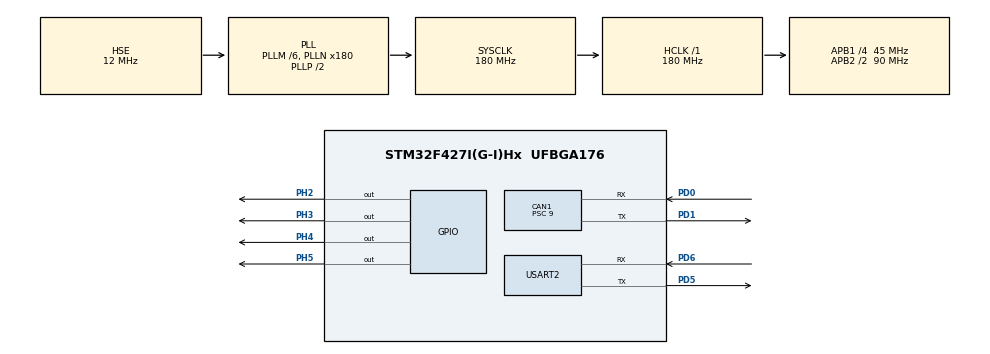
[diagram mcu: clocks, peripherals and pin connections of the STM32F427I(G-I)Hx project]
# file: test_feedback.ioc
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CAN1.ABOM=ENABLE
CAN1.BS1=CAN_BS1_2TQ
CAN1.BS2=CAN_BS2_2TQ
CAN1.CalculateBaudRate=1000000
CAN1.CalculateTimeBit=1000
CAN1.CalculateTimeQuantum=200.0
CAN1.Prescaler=9
Dma.Request0=USART2_RX
Dma.Request1=USART2_TX
Dma.USART2_RX.0.Direction=DMA_PERIPH_TO_MEMORY
Dma.USART2_RX.0.FIFOMode=DMA_FIFOMODE_DISABLE
Dma.USART2_RX.0.Instance=DMA1_Stream5
Dma.USART2_RX.0.MemDataAlignment=DMA_MDATAALIGN_BYTE
Dma.USART2_RX.0.MemInc=DMA_MINC_ENABLE
Dma.USART2_RX.0.Mode=DMA_NORMAL
Dma.USART2_RX.0.PeriphDataAlignment=DMA_PDATAALIGN_BYTE
Dma.USART2_RX.0.PeriphInc=DMA_PINC_DISABLE
Dma.USART2_RX.0.Priority=DMA_PRIORITY_LOW
Dma.USART2_TX.1.Direction=DMA_MEMORY_TO_PERIPH
Dma.USART2_TX.1.FIFOMode=DMA_FIFOMODE_DISABLE
Dma.USART2_TX.1.Instance=DMA1_Stream6
Dma.USART2_TX.1.MemDataAlignment=DMA_MDATAALIGN_BYTE
Dma.USART2_TX.1.MemInc=DMA_MINC_ENABLE
Dma.USART2_TX.1.Mode=DMA_NORMAL
Dma.USART2_TX.1.PeriphDataAlignment=DMA_PDATAALIGN_BYTE
Dma.USART2_TX.1.PeriphInc=DMA_PINC_DISABLE
Dma.USART2_TX.1.Priority=DMA_PRIORITY_LOW
Mcu.Family=STM32F4
Mcu.Name=STM32F427I(G-I)Hx
Mcu.Package=UFBGA176
NVIC.CAN1_RX0_IRQn=true\:0\:0\:false\:false\:true\:true\:true\:true
NVIC.CAN1_RX1_IRQn=true\:0\:0\:false\:false\:true\:true\:true\:true
NVIC.DMA1_Stream5_IRQn=true\:0\:0\:false\:false\:true\:false\:true\:true
NVIC.DMA1_Stream6_IRQn=true\:0\:0\:false\:false\:true\:false\:true\:true
NVIC.PriorityGroup=NVIC_PRIORITYGROUP_4
NVIC.USART2_IRQn=true\:0\:0\:false\:false\:true\:true\:true\:true
PA13.Mode=Serial_Wire
PA13.Signal=SYS_JTMS-SWDIO
PA14.Mode=Serial_Wire
PA14.Signal=SYS_JTCK-SWCLK
PD0.Mode=CAN_Activate
PD0.Signal=CAN1_RX
PD1.Mode=CAN_Activate
PD1.Signal=CAN1_TX
PD5.Mode=Asynchronous
PD5.Signal=USART2_TX
PD6.Mode=Asynchronous
PD6.Signal=USART2_RX
PH0/OSC_IN.Mode=HSE-External-Oscillator
PH0/OSC_IN.Signal=RCC_OSC_IN
PH1/OSC_OUT.Mode=HSE-External-Oscillator
PH1/OSC_OUT.Signal=RCC_OSC_OUT
PH2.GPIO_PuPd=GPIO_PULLDOWN
PH2.Signal=GPIO_Output
PH3.GPIO_PuPd=GPIO_PULLDOWN
PH3.Signal=GPIO_Output
PH4.GPIO_PuPd=GPIO_PULLDOWN
PH4.Signal=GPIO_Output
PH5.GPIO_PuPd=GPIO_PULLDOWN
PH5.Signal=GPIO_Output
ProjectManager.HeapSize=0x200
ProjectManager.StackSize=0x400
ProjectManager.TargetToolchain=MDK-ARM V5.32
RCC.48MHZClocksFreq_Value=90000000
RCC.AHBFreq_Value=180000000
RCC.APB1CLKDivider=RCC_HCLK_DIV4
RCC.APB1Freq_Value=45000000
RCC.APB1TimFreq_Value=90000000
RCC.APB2CLKDivider=RCC_HCLK_DIV2
RCC.APB2Freq_Value=90000000
RCC.APB2TimFreq_Value=180000000
RCC.CortexFreq_Value=180000000
RCC.HCLKFreq_Value=180000000
RCC.HSE_VALUE=12000000
RCC.HSI_VALUE=16000000
RCC.LSE_VALUE=32768
RCC.PLLM=6
RCC.PLLN=180
RCC.PLLSourceVirtual=RCC_PLLSOURCE_HSE
RCC.SYSCLKFreq_VALUE=180000000
RCC.SYSCLKSource=RCC_SYSCLKSOURCE_PLLCLK
RCC.VCOOutputFreq_Value=360000000
USART2.VirtualMode=VM_ASYNC
board=custom

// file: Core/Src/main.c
/* USER CODE BEGIN Header */
/**
 ******************************************************************************
 * @file           : main.c
 * @brief          : Main program body
 ******************************************************************************
 * @attention
 *
 * Copyright (c) 2023 STMicroelectronics.
 * All rights reserved.
 *
 * This software is licensed under terms that can be found in the LICENSE file
 * in the root directory of this software component.
 * If no LICENSE file comes with this software, it is provided AS-IS.
 *
 ******************************************************************************
 */
/* USER CODE END Header */
#include "main.h"
#include "can.h"
#include "dma.h"
#include "usart.h"
#include "gpio.h"

/* USER CODE BEGIN Includes */

#include "drv_bsp.h"
#include "drv_can.h"

#include "alg_pid.h"

#include "dvc_serialplot.h"

/* USER CODE END Includes */

/* USER CODE BEGIN PV */

Class_Serialplot serialplot;
Class_PID pid_omega;

int16_t Rx_Encoder, Rx_Omega, Rx_Torque, Rx_Temperature;
float Now_Omega, Target_Omega = 50.0f * PI;
uint32_t Counter = 0;
int32_t Output;

static char Variable_Assignment_List[][SERIALPLOT_RX_VARIABLE_ASSIGNMENT_MAX_LENGTH] = {
    //电机调PID
    "po",
    "io",
    "do",
};

/* USER CODE END PV */

void SystemClock_Config(void);

/* USER CODE BEGIN 0 */

/**
 * @brief CAN报文回调函数
 *
 * @param Rx_Buffer CAN接收的信息结构体
 */
void CAN_Motor_Call_Back(Struct_CAN_Rx_Buffer *Rx_Buffer)
{
    uint8_t *Rx_Data = Rx_Buffer->Data;
    switch (Rx_Buffer->Header.StdId)
    {
    //相比第七次培训修改了CANID适配
    case (0x201):
    {
        Rx_Encoder = (Rx_Data[0] << 8) | Rx_Data[1];
        Rx_Omega = (Rx_Data[2] << 8) | Rx_Data[3];
        Rx_Torque = (Rx_Data[4] << 8) | Rx_Data[5];
        Rx_Temperature = Rx_Data[6];
    }
    break;
    }
}

/**
 * @brief HAL库UART接收DMA空闲中断
 *
 * @param huart UART编号
 * @param Size 长度
 */
void UART_Serialplot_Call_Back(uint8_t *Buffer, uint16_t Length)
{
    serialplot.UART_RxCpltCallback(Buffer);
    switch (serialplot.Get_Variable_Index())
    {
        // 电机调PID
        case(0):
        {
            pid_omega.Set_K_P(serialplot.Get_Variable_Value());
        }
        break;
        case(1):
        {
            pid_omega.Set_K_I(serialplot.Get_Variable_Value());
        }
        break;
        case(2):
        {
            pid_omega.Set_K_D(serialplot.Get_Variable_Value());
        }
        break;
    }
}

/* USER CODE END 0 */

int main(void)
{

    /* MCU Configuration--------------------------------------------------------*/

    /* Reset of all peripherals, Initializes the Flash interface and the Systick. */
    HAL_Init();

    /* Configure the system clock */
    SystemClock_Config();

    /* Initialize all configured peripherals */
    MX_GPIO_Init();
    MX_DMA_Init();
    MX_CAN1_Init();
    MX_USART2_UART_Init();
    /* USER CODE BEGIN 2 */

    BSP_Init(BSP_DC24_LU_ON | BSP_DC24_LD_ON | BSP_DC24_RU_ON | BSP_DC24_RD_ON);
    CAN_Init(&hcan1, CAN_Motor_Call_Back);
    //相比第七次培训修改了接收字典列表指针
    UART_Init(&huart2, UART_Serialplot_Call_Back, SERIALPLOT_RX_VARIABLE_ASSIGNMENT_MAX_LENGTH);
    //相比第七次培训修改了CANID适配, 另外ID和掩码改成0表示所有包均接收不进行过滤
    CAN_Filter_Mask_Config(&hcan1, CAN_FILTER(0) | CAN_FIFO_1 | CAN_STDID | CAN_DATA_TYPE, 0, 0);

    pid_omega.Init(0.0f, 0.0f, 0.0f, 0.0f, 2500.0f, 2500.0f);

    serialplot.Init(&huart2, 3, (char **)Variable_Assignment_List);

    /* USER CODE END 2 */

    /* Infinite loop */
    /* USER CODE BEGIN WHILE */
    while (1)
    {
        //如果计时到2000ms就换一个目标值

        Counter++;
        if(Counter >= 2000)
        {
            Counter = 0;
            if(Target_Omega == 50.0f * PI)
            {
                Target_Omega = 100.0f * PI;
            }
            else if(Target_Omega == 100.0f * PI)
            {
                Target_Omega = 50.0f * PI;
            }
        }

        //串口绘图显示内容

        Now_Omega = Rx_Omega * 2.0f * PI / 60.0f;
        serialplot.Set_Data(2, &Now_Omega, &Target_Omega);
        //相比第七次培训修改了函数名, 以便适配新的开发库
        serialplot.TIM_Write_PeriodElapsedCallback();
        TIM_UART_PeriodElapsedCallback();

        //PID相关计算内容
        pid_omega.Set_Target(Target_Omega);
        pid_omega.Set_Now(Now_Omega);
        pid_omega.TIM_Adjust_PeriodElapsedCallback();
        Output = pid_omega.Get_Out();

        //输出数据到电机
        CAN1_0x200_Tx_Data[0] = Output >> 8;
        CAN1_0x200_Tx_Data[1] = Output;
        CAN_Send_Data(&hcan1, 0x200, CAN1_0x200_Tx_Data, 8);

        //延时1ms
        HAL_Delay(0);
        /* USER CODE END WHILE */

    }
}

void SystemClock_Config(void)
{
    RCC_OscInitTypeDef RCC_OscInitStruct = {0};
    RCC_ClkInitTypeDef RCC_ClkInitStruct = {0};

    /** Configure the main internal regulator output voltage
     */
    __HAL_RCC_PWR_CLK_ENABLE();
    __HAL_PWR_VOLTAGESCALING_CONFIG(PWR_REGULATOR_VOLTAGE_SCALE1);

    /** Initializes the RCC Oscillators according to the specified parameters
     * in the RCC_OscInitTypeDef structure.
     */
    RCC_OscInitStruct.OscillatorType = RCC_OSCILLATORTYPE_HSE;
    RCC_OscInitStruct.HSEState = RCC_HSE_ON;
    RCC_OscInitStruct.PLL.PLLState = RCC_PLL_ON;
    RCC_OscInitStruct.PLL.PLLSource = RCC_PLLSOURCE_HSE;
    RCC_OscInitStruct.PLL.PLLM = 6;
    RCC_OscInitStruct.PLL.PLLN = 180;
    RCC_OscInitStruct.PLL.PLLP = RCC_PLLP_DIV2;
    RCC_OscInitStruct.PLL.PLLQ = 4;
    if (HAL_RCC_OscConfig(&RCC_OscInitStruct) != HAL_OK)
    {
        Error_Handler();
    }

    /** Activate the Over-Drive mode
     */
    if (HAL_PWREx_EnableOverDrive() != HAL_OK)
    {
        Error_Handler();
    }

    /** Initializes the CPU, AHB and APB buses clocks
     */
    RCC_ClkInitStruct.ClockType = RCC_CLOCKTYPE_HCLK | RCC_CLOCKTYPE_SYSCLK | RCC_CLOCKTYPE_PCLK1 | RCC_CLOCKTYPE_PCLK2;
    RCC_ClkInitStruct.SYSCLKSource = RCC_SYSCLKSOURCE_PLLCLK;
    RCC_ClkInitStruct.AHBCLKDivider = RCC_SYSCLK_DIV1;
    RCC_ClkInitStruct.APB1CLKDivider = RCC_HCLK_DIV4;
    RCC_ClkInitStruct.APB2CLKDivider = RCC_HCLK_DIV2;

    if (HAL_RCC_ClockConfig(&RCC_ClkInitStruct, FLASH_LATENCY_5) != HAL_OK)
    {
        Error_Handler();
    }
}

void Error_Handler(void)
{
    __disable_irq();
    while (1)
    {
    }
}
